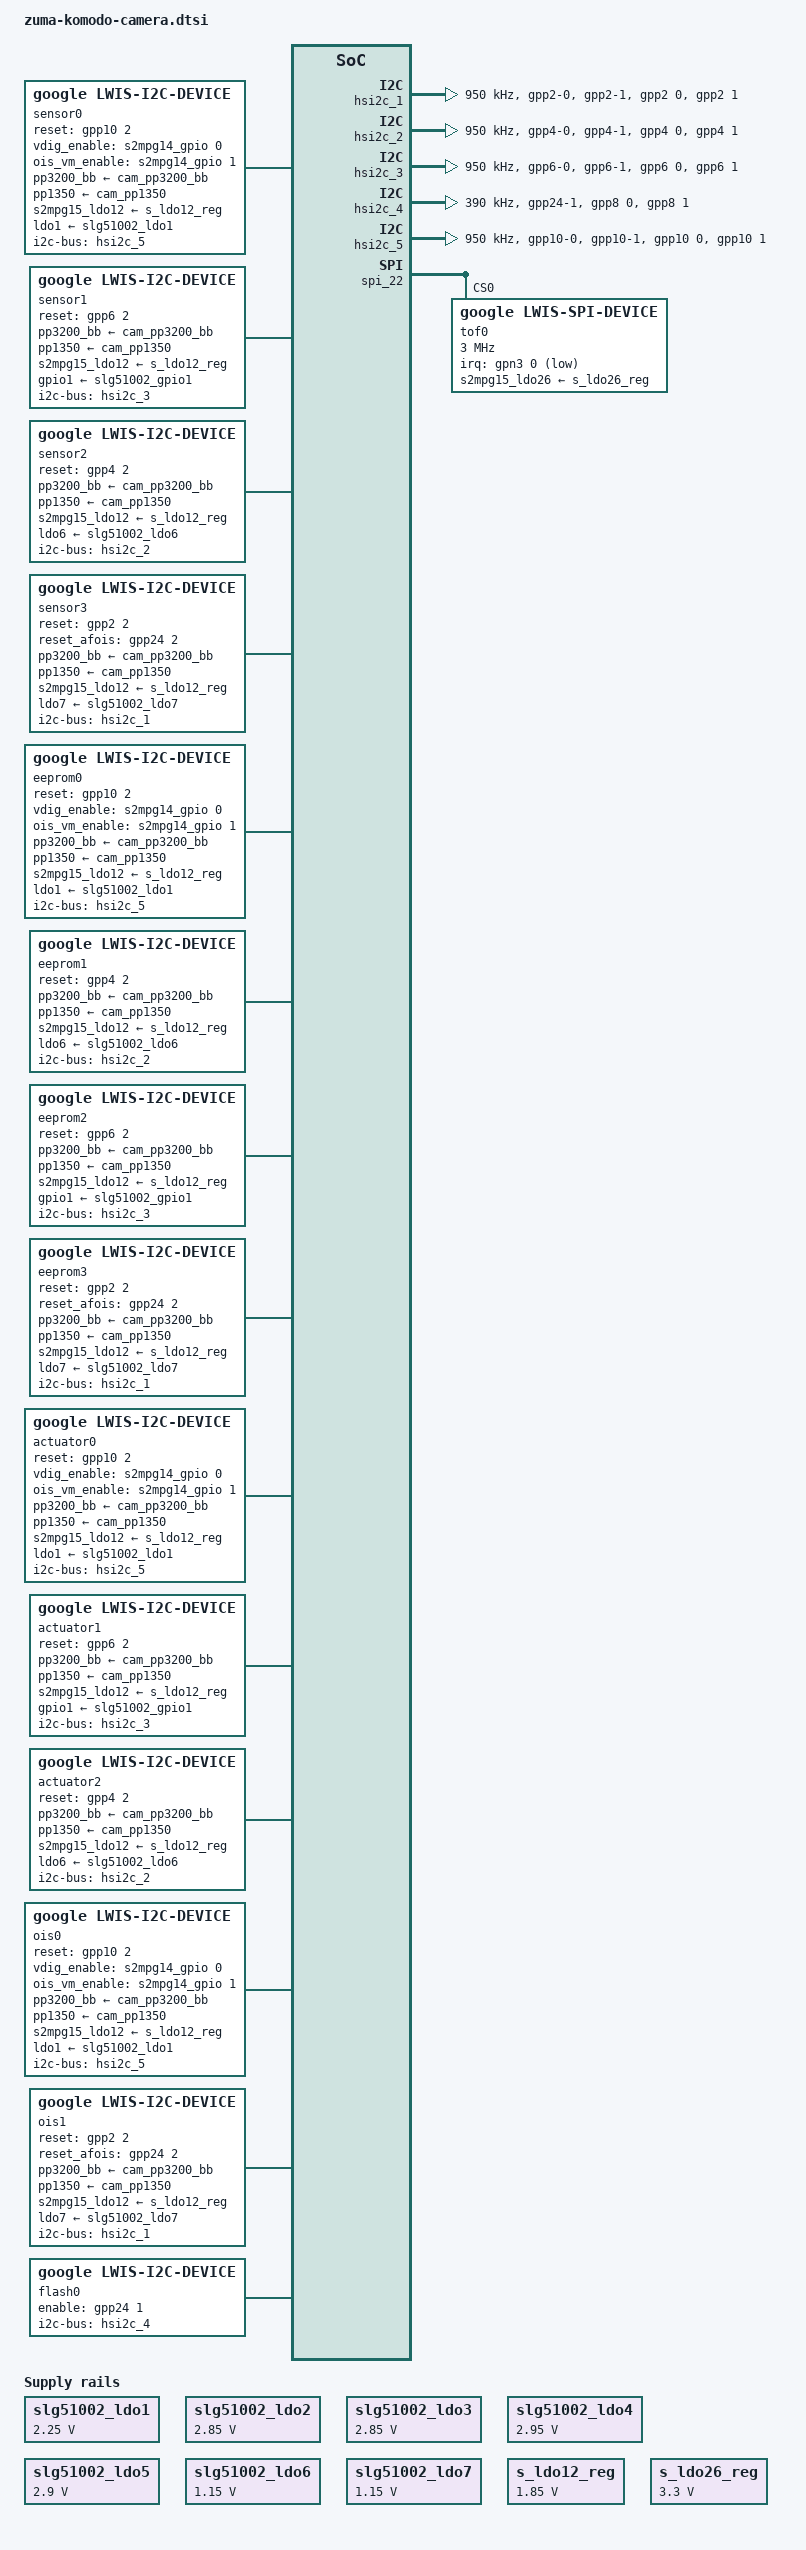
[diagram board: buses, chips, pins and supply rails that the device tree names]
// SPDX-License-Identifier: GPL-2.0-only
/*
 * zuma camera lwis device tree for komodo
 *
 * Copyright 2022 Google LLC.
 *
 */

#include <dt-bindings/clock/zuma.h>
#include <dt-bindings/gpio/gpio.h>
#include <arm64/exynos/exynos-pinctrl.h>
#include <dt-bindings/lwis/platform/zuma/tof.h>

&slg51002_ldo1 {
	regulator-min-microvolt = <2250000>;
	regulator-max-microvolt = <2250000>;
};

/* As defined on OTP */
&slg51002_ldo2 {
	regulator-min-microvolt = <2850000>;
	regulator-max-microvolt = <2850000>;
};

&slg51002_ldo3 {
	regulator-min-microvolt = <2850000>;
	regulator-max-microvolt = <2850000>;
};

&slg51002_ldo4 {
	regulator-min-microvolt = <2950000>;
	regulator-max-microvolt = <2950000>;
};

&slg51002_ldo5 {
	regulator-min-microvolt = <2900000>;
	regulator-max-microvolt = <2900000>;
};

/* As defined on OTP */
&slg51002_ldo6 {
	regulator-min-microvolt = <1150000>;
	regulator-max-microvolt = <1150000>;
};

/* As defined on OTP */
&slg51002_ldo7 {
	regulator-min-microvolt = <1150000>;
	regulator-max-microvolt = <1150000>;
};

/* slg51002_ldo8 is not used */

&s_ldo12_reg {
	regulator-min-microvolt = <1850000>;
	regulator-max-microvolt = <1850000>;
};

&s_ldo26_reg {
	regulator-min-microvolt = <3300000>;
	regulator-max-microvolt = <3300000>;
};

&pinctrl_1 {
	ldaf_irq: ldaf-irq {
		samsung,pins = "gpn3-0";
		samsung,pin-function = <EXYNOS_PIN_FUNC_EINT>;
		samsung,pin-pud = <EXYNOS_PIN_PULL_NONE>;
	};
	ldaf_irq_off: ldaf-irq-off {
		samsung,pins = "gpn3-0";
		samsung,pin-function = <EXYNOS_PIN_FUNC_OUTPUT>;
		samsung,pin-val = <0>;
		samsung,pin-pud = <EXYNOS_PIN_PULL_NONE>;
	};
};

&pinctrl_11 {
	hsi2c1_bus: hsi2c1-bus {
		samsung,pin-pud = <EXYNOS_PIN_PULL_UP>;
	};

	hsi2c1_bus_in: hsi2c1-bus-in {
		samsung,pins = "gpp2-0", "gpp2-1";
		samsung,pin-function = <EXYNOS_PIN_FUNC_INPUT>;
		samsung,pin-pud = <EXYNOS_PIN_PULL_NONE>;
		samsung,pin-drv = <ZUMA_PIN_DRV_X1>;
	};

	hsi2c2_bus: hsi2c2-bus {
		samsung,pin-pud = <EXYNOS_PIN_PULL_UP>;
	};

	hsi2c2_bus_in: hsi2c2-bus-in {
		samsung,pins = "gpp4-0", "gpp4-1";
		samsung,pin-function = <EXYNOS_PIN_FUNC_INPUT>;
		samsung,pin-pud = <EXYNOS_PIN_PULL_NONE>;
		samsung,pin-drv = <ZUMA_PIN_DRV_X1>;
	};

	hsi2c3_bus: hsi2c3-bus {
		samsung,pin-pud = <EXYNOS_PIN_PULL_UP>;
	};

	hsi2c3_bus_in: hsi2c3-bus-in {
		samsung,pins = "gpp6-0", "gpp6-1";
		samsung,pin-function = <EXYNOS_PIN_FUNC_INPUT>;
		samsung,pin-pud = <EXYNOS_PIN_PULL_NONE>;
		samsung,pin-drv = <ZUMA_PIN_DRV_X1>;
	};

	hsi2c5_bus: hsi2c5-bus {
		samsung,pin-pud = <EXYNOS_PIN_PULL_UP>;
	};

	hsi2c5_bus_in: hsi2c5-bus-in {
		samsung,pins = "gpp10-0", "gpp10-1";
		samsung,pin-function = <EXYNOS_PIN_FUNC_INPUT>;
		samsung,pin-pud = <EXYNOS_PIN_PULL_NONE>;
		samsung,pin-drv = <ZUMA_PIN_DRV_X1>;
	};

	sensor_mclk1_out: sensor-mclk1-out {
		samsung,pin-drv = <ZUMA_PIN_DRV_X3>;
	};
	sensor_mclk1_fn: sensor-mclk1-fn {
		samsung,pin-drv = <ZUMA_PIN_DRV_X3>;
	};
	sensor_mclk2_out: sensor-mclk2-out {
		samsung,pin-drv = <ZUMA_PIN_DRV_X3>;
	};
	sensor_mclk2_fn: sensor-mclk2-fn {
		samsung,pin-drv = <ZUMA_PIN_DRV_X3>;
	};
	sensor_mclk3_out: sensor-mclk3-out {
		samsung,pin-drv = <ZUMA_PIN_DRV_X3>;
	};
	sensor_mclk3_fn: sensor-mclk3-fn {
		samsung,pin-drv = <ZUMA_PIN_DRV_X3>;
	};
	sensor_mclk4_out: sensor-mclk4-out {
		samsung,pin-drv = <ZUMA_PIN_DRV_X3>;
	};
	sensor_mclk4_fn: sensor-mclk4-fn {
		samsung,pin-drv = <ZUMA_PIN_DRV_X3>;
	};
};

&pinctrl_12 {
	/* GPP24[1] Flashlight Enable */
	flash_en: flash-en {
		samsung,pins = "gpp24-1";
		samsung,pin-function = <EXYNOS_PIN_FUNC_INPUT>;
		samsung,pin-pud = <EXYNOS_PIN_PULL_NONE>;
		samsung,pin-con-pdn = <EXYNOS_PIN_PDN_PREV>;
		samsung,pin-pud-pdn = <EXYNOS_PIN_PULL_NONE>;
	};
};

&hsi2c_1 {
	#address-cells = <1>;
	#size-cells = <0>;
	gpios = <&gpp2 0 GPIO_ACTIVE_HIGH &gpp2 1 GPIO_ACTIVE_HIGH>;
	status = "okay";
	clock-frequency = <950000>;
	samsung,no_lose_arbitration;
	samsung,reset-before-trans;
	samsung,hybrid-polling-mode;

	pinctrl-names = "default","on_i2c","off_i2c";
	pinctrl-0 = <&hsi2c1_bus_in>;
	pinctrl-1 = <&hsi2c1_bus>;
	pinctrl-2 = <&hsi2c1_bus_in>;
};

&hsi2c_2 {
	#address-cells = <1>;
	#size-cells = <0>;
	gpios = <&gpp4 0 GPIO_ACTIVE_HIGH &gpp4 1 GPIO_ACTIVE_HIGH>;
	status = "okay";
	clock-frequency = <950000>;
	samsung,no_lose_arbitration;
	samsung,reset-before-trans;
	samsung,hybrid-polling-mode;

	pinctrl-names = "default","on_i2c","off_i2c";
	pinctrl-0 = <&hsi2c2_bus_in>;
	pinctrl-1 = <&hsi2c2_bus>;
	pinctrl-2 = <&hsi2c2_bus_in>;
};

&hsi2c_3 {
	#address-cells = <1>;
	#size-cells = <0>;
	gpios = <&gpp6 0 GPIO_ACTIVE_HIGH &gpp6 1 GPIO_ACTIVE_HIGH>;
	status = "okay";
	clock-frequency = <950000>;
	samsung,no_lose_arbitration;
	samsung,reset-before-trans;
	samsung,hybrid-polling-mode;

	pinctrl-names = "default","on_i2c","off_i2c";
	pinctrl-0 = <&hsi2c3_bus_in>;
	pinctrl-1 = <&hsi2c3_bus>;
	pinctrl-2 = <&hsi2c3_bus_in>;
};

&hsi2c_4 {
	#address-cells = <1>;
	#size-cells = <0>;
	gpios = <&gpp8 0 GPIO_ACTIVE_HIGH &gpp8 1 GPIO_ACTIVE_HIGH>;
	status = "okay";
	/* Limit to 390KHz due to bottleneck in flash LED driver. */
	clock-frequency = <390000>;
	samsung,no_lose_arbitration;

	pinctrl-names = "default","on_i2c","off_i2c";
	pinctrl-0 = <&hsi2c4_bus &flash_en>;
	pinctrl-1 = <&hsi2c4_bus>;
	pinctrl-2 = <&hsi2c4_bus>;
};

&hsi2c_5 {
	#address-cells = <1>;
	#size-cells = <0>;
	gpios = <&gpp10 0 GPIO_ACTIVE_HIGH &gpp10 1 GPIO_ACTIVE_HIGH>;
	status = "okay";
	clock-frequency = <950000>;
	samsung,no_lose_arbitration;
	samsung,reset-before-trans;
	samsung,hybrid-polling-mode;
	samsung,trailing-count = <0x20000>;

	pinctrl-names = "default","on_i2c","off_i2c";
	pinctrl-0 = <&hsi2c5_bus_in>;
	pinctrl-1 = <&hsi2c5_bus>;
	pinctrl-2 = <&hsi2c5_bus_in>;
};

&spi_22 {

	#address-cells = <1>;
	#size-cells = <0>;
	status = "okay";

	tof0: tof@0 {
		status = "ok";
		compatible = "google,lwis-spi-device";

		/* Device node name */
		node-name = "tof-tarasque";

		/* Registers */
		reg-addr-bitwidth = <16>;
		reg-value-bitwidth = <8>;

		/* SPI config */
		reg = <0>;
		spi-max-frequency = <3000000>;
		spi-cpol;
		spi-cpha;

		/* Power supplies */
		/* VADD 3.3V */
		s2mpg15_ldo26-supply = <&s_ldo26_reg>;

		/* MCLK Control*/
		pinctrl-names = "default", "mclk_on", "mclk_off";
		pinctrl-0 = <&ldaf_irq_off>;
		pinctrl-1 = <&ldaf_irq>;
		pinctrl-2 = <&ldaf_irq_off>;

		/* XAOC_GPIO3: GPN3[0] */
		irq-gpios = <&gpn3 0 GPIO_ACTIVE_LOW>;
		irq-gpios-names = "tof-irq";
		irq-gpios-events = <LWIS_PLATFORM_EVENT_ID_TOF_DATA_POLLING>;
		/* IRQF_ONESHOT | IRQF_TRIGGER_FALLING */
		irq-gpios-types = <0x2002>;

		/* Power up sequence */
		power-up-seqs =
			"s2mpg15_ldo26",
			"mclk_on";
		power-up-seq-types =
			"regulator",
			"pinctrl";
		power-up-seq-delays-us =
			<1000
			 0>;

		/* Power down sequence */
		power-down-seqs =
			"mclk_off",
			"s2mpg15_ldo26";
		power-down-seq-types =
			"pinctrl",
			"regulator";
		power-down-seq-delays-us =
			<0
			 1000>;

		/* Thread priority */
		/* A slower TOF bus speed leads to higher CPU usage. */
		/* This is therefore made to be lower than image sensor's */
		/* thread priority to allow uninterrupted image sensor */
		/* operation during periods of high CPU contention. */
		/* Other real-time threads are also prioritized over */
		/* TOF as well. */
		transaction-thread-priority = <100>;

		controller-data {
			samsung,spi-feedback-delay = <0>;
			samsung,spi-chip-select-mode = <0>;
			cs-clock-delay = <10>;
		};
	};
};

/ {
	fragment@lwiscamera {
		target-path = "/";
		__overlay__ {
			/* Power sequence for FRONT CAMERA combo */
			front_camera_power_seq: module_power_seq@0 {
				/* Power supplies will be defined on each module. */
				/* Common supplies */
				/* PP3200_BB_CAM pp3200_bb */
				/* PP1350_CAM    pp1350 */
				/* Sensor */
				/* VDDIO         s2mpg15_ldo12 */
				/* VDIG,VDDA     gpio1 */
				/* RESET         reset */
				/* MCLK_ON       mclk_on */
				/* Actuator */
				/* AF_VM         gpio2 */
				power-up-seqs =
					"pp3200_bb",
					"pp1350",
					"gpio1",
					"s2mpg15_ldo12",
					"gpio2",
					"reset",
					"mclk_on";
				power-up-seq-types =
					"regulator",
					"regulator",
					"regulator",
					"regulator",
					"regulator",
					"gpio",
					"pinctrl";
				power-up-seq-delays-us =
					<0
					 0
					 0
					 1000
					 0
					 0
					 /* from MCLK to first i2c */
					 5000>;

				power-down-seqs =
					"mclk_off",
					"reset",
					"gpio2",
					"s2mpg15_ldo12",
					"gpio1",
					"pp1350",
					"pp3200_bb";
				power-down-seq-types =
					"pinctrl",
					"gpio",
					"regulator",
					"regulator",
					"regulator",
					"regulator",
					"regulator";
				power-down-seq-delays-us =
					<0
					 1000
					 0
					 0
					 0
					 7000
					 2000>;
			};

			/* Power sequence for REAR MAIN CAMERA combo */
			rear_main_camera_power_seq: module_power_seq@1 {
				/* Power supplies will be defined on each module. */
				/* Common supplies */
				/* PP3200_BB_CAM pp3200_bb */
				/* PP1350_CAM    pp1350 */
				/* Sensor */
				/* VDDIO         s2mpg15_ldo12 */
				/* VDIG          vdig_enable */
				/* VDDA          ldo1 */
				/* RESET         reset */
				/* MCLK_ON       mclk_on */
				/* OIS */
				/* AVDD          ldo5 */
				/* OIS_VM        ois_vm_enable */
				/* Actuator */
				/* AF_VM         ldo4 */
				power-up-seqs =
					"pp3200_bb",
					"pp1350",
					"ldo1",
					"vdig_enable",
					"s2mpg15_ldo12",
					"ldo5",
					"ldo4",
					"reset",
					"ois_vm_enable",
					"mclk_on";
				power-up-seq-types =
					"regulator",
					"regulator",
					"regulator",
					"gpio",
					"regulator",
					"regulator",
					"regulator",
					"gpio",
					"gpio",
					"pinctrl";
				power-up-seq-delays-us =
					<0
					 0
					 1000
					 1000
					 1000
					 0
					 0
					 1000
					 0
					 9000>;

				power-down-seqs =
					"mclk_off",
					"ois_vm_enable",
					"reset",
					"ldo4",
					"ldo5",
					"s2mpg15_ldo12",
					"vdig_enable",
					"ldo1",
					"pp1350",
					"pp3200_bb";

				power-down-seq-types =
					"pinctrl",
					"gpio",
					"gpio",
					"regulator",
					"regulator",
					"regulator",
					"gpio",
					"regulator",
					"regulator",
					"regulator";
				power-down-seq-delays-us =
					<1000
					 0
					 1000
					 0
					 1000
					 1000
					 1000
					 1000
					 7000
					 2000>;
			};

			/* Power sequence for REAR ULTRA WIDE combo */
			rear_uw_camera_power_seq: module_power_seq@2 {
				/* Power supplies will be defined on each module. */
				/* Common supplies */
				/* PP3200_BB_CAM pp3200_bb */
				/* PP1350_CAM    pp1350 */
				/* Sensor */
				/* VDIG          ldo6 */
				/* VANA          ldo2 */
				/* VIO           s2mpg15_ldo12 */
				/* MCLK_ON       mclk_on */
				/* Actuator */
				/* AF_VM         ldo4 */
				power-up-seqs =
					"pp3200_bb",
					"pp1350",
					"ldo6",
					"ldo2",
					"s2mpg15_ldo12",
					"ldo4",
					"mclk_on";
				power-up-seq-types =
					"regulator",
					"regulator",
					"regulator",
					"regulator",
					"regulator",
					"regulator",
					"pinctrl";
				power-up-seq-delays-us =
					<0
					 0
					 0
					 0
					 1000
					 0
					 0>;

				power-down-seqs =
					"mclk_off",
					"ldo4",
					"s2mpg15_ldo12",
					"ldo2",
					"ldo6",
					"pp1350",
					"pp3200_bb";
				power-down-seq-types =
					"pinctrl",
					"regulator",
					"regulator",
					"regulator",
					"regulator",
					"regulator",
					"regulator";
				power-down-seq-delays-us =
					<0
					 1000
					 0
					 0
					 0
					 7000
					 2000>;
			};

			/* Power sequence for REAR Folded Tele Camera combo */
			rear_tele_camera_power_seq: module_power_seq@3 {
				/* Power supplies will be defined on each module. */
				/* Common supplies */
				/* PP3200_BB_CAM     pp3200_bb */
				/* PP1350_CAM        pp1350 */
				/* Sensor */
				/* VDIG              ldo7 */
				/* VDDA              ldo3 */
				/* VDDIO             s2mpg15_ldo12 */
				/* MCLK_ON           mclk_on */
				/* AFOIS */
				/* AF_VM             gpio3 */
				/* AFOIS_VANA        ldo5 */
				/* RTCAM_AFOIS_RESET reset[1] */
				power-up-seqs =
					"pp3200_bb",
					"pp1350",
					"ldo7",
					"ldo3",
					"s2mpg15_ldo12",
					"ldo5",
					"gpio3",
					"reset_afois",
					"mclk_on";
				power-up-seq-types =
					"regulator",
					"regulator",
					"regulator",
					"regulator",
					"regulator",
					"regulator",
					"regulator",
					"gpio",
					"pinctrl";
				power-up-seq-delays-us =
					<0
					 0
					 0
					 0
					 1000
					 1000
					 1000
					 1000
					 0>;

				/* Power down sequence */
				power-down-seqs =
					"mclk_off",
					"reset_afois",
					"gpio3",
					"ldo5",
					"s2mpg15_ldo12",
					"ldo3",
					"ldo7",
					"pp1350",
					"pp3200_bb";
				power-down-seq-types =
					"pinctrl",
					"gpio",
					"regulator",
					"regulator",
					"regulator",
					"regulator",
					"regulator",
					"regulator",
					"regulator";
				power-down-seq-delays-us =
					<0
					 1000
					 1000
					 1000
					 0
					 0
					 0
					 7000
					 2000>;
			};

			/* REAR CAMERA */
			sensor0: sensor@0 {
				compatible = "google,lwis-i2c-device";

				/* Device node name */
				node-name = "sensor-boitata";

				/* I2C */
				i2c-bus = <&hsi2c_5>;
				i2c-addr = <0x3D>;

				/* Registers */
				reg-addr-bitwidth = <16>;
				reg-value-bitwidth = <16>;

				/* GPIOs */
				/* RCAM_RST_L GPP10[2] */
				reset-gpios = <&gpp10 2 GPIO_ACTIVE_HIGH>;
				/* CAM_LVBUCK_EN, RCAM_OIS_VM_EN */
				vdig_enable-gpios = <&s2mpg14_gpio 0 GPIO_ACTIVE_HIGH>;
				ois_vm_enable-gpios = <&s2mpg14_gpio 1 GPIO_ACTIVE_HIGH>;

				/* Power supplies */
				pp3200_bb-supply = <&cam_pp3200_bb>;
				pp1350-supply = <&cam_pp1350>;
				s2mpg15_ldo12-supply = <&s_ldo12_reg>;
				ldo1-supply = <&slg51002_ldo1>;
				ldo5-supply = <&slg51002_ldo5>;
				ldo4-supply = <&slg51002_ldo4>;

				clocks =
					<&clock CIS_CLK3>,
					<&clock GATE_DFTMUX_CMU_CIS_CLK3>;
				clock-names =
					"CIS_CLK3",
					"GATE_DFTMUX_CMU_CIS_CLK3";
				clock-rates =
					<26000000>,
					<0>;

				/* MCLK Control */
				pinctrl-names = "mclk_on", "mclk_off";
				pinctrl-0 = <&sensor_mclk4_fn>;
				pinctrl-1 = <&sensor_mclk4_out>;

				/* Power sequence */
				power-seq = <&rear_main_camera_power_seq>;

				/* Thread priority */
				transaction-thread-priority = <99>;

				i2c-lock-group-id = <0>;
				transaction-process-limit = <20>;
			};

			/* FRONT CAMERA */
			sensor1: sensor@1 {
				compatible = "google,lwis-i2c-device";

				/* Device node name */
				node-name = "sensor-taotie-front";

				/* I2C */
				i2c-bus = <&hsi2c_3>;
				i2c-addr = <0x1A>;

				/* Registers */
				reg-addr-bitwidth = <16>;
				reg-value-bitwidth = <8>;

				/* GPIOs */
				/* FCAM_RST_L GPP6[2] */
				reset-gpios = <&gpp6 2 GPIO_ACTIVE_HIGH>;

				/* Power supplies */
				pp3200_bb-supply = <&cam_pp3200_bb>;
				pp1350-supply = <&cam_pp1350>;
				s2mpg15_ldo12-supply = <&s_ldo12_reg>;
				gpio1-supply = <&slg51002_gpio1>;
				gpio2-supply = <&slg51002_gpio2>;

				clocks =
					<&clock CIS_CLK1>,
					<&clock GATE_DFTMUX_CMU_CIS_CLK1>;
				clock-names =
					"CIS_CLK1",
					"GATE_DFTMUX_CMU_CIS_CLK1";
				clock-rates =
					<24000000>,
					<0>;

				/* MCLK Control */
				pinctrl-names = "mclk_on", "mclk_off";
				pinctrl-0 = <&sensor_mclk2_fn>;
				pinctrl-1 = <&sensor_mclk2_out>;

				/* Power sequence */
				power-seq = <&front_camera_power_seq>;

				/* Thread priority */
				transaction-thread-priority = <99>;

				i2c-lock-group-id = <3>;
			};

			/* REAR ULTRA WIDE CAMERA */
			sensor2: sensor@2 {
				compatible = "google,lwis-i2c-device";

				/* Device node name */
				node-name = "sensor-taotie-uw";

				/* I2C */
				i2c-bus = <&hsi2c_2>;
				i2c-addr = <0x1A>;

				/* Power up mode */
				lwis,power-up-to-suspend;

				/* Registers */
				reg-addr-bitwidth = <16>;
				reg-value-bitwidth = <8>;

				/* GPIOs */
				/* RUWCAM_RST_L GPP4[2] */
				reset-gpios = <&gpp4 2 GPIO_ACTIVE_HIGH>;

				/* Power supplies */
				pp3200_bb-supply = <&cam_pp3200_bb>;
				pp1350-supply = <&cam_pp1350>;
				s2mpg15_ldo12-supply = <&s_ldo12_reg>;
				ldo6-supply = <&slg51002_ldo6>;
				ldo4-supply = <&slg51002_ldo4>;
				ldo2-supply = <&slg51002_ldo2>;

				clocks =
					<&clock CIS_CLK0>,
					<&clock GATE_DFTMUX_CMU_CIS_CLK0>;
				clock-names =
					"CIS_CLK0",
					"GATE_DFTMUX_CMU_CIS_CLK0";
				clock-rates =
					<24000000>,
					<0>;

				/* MCLK Control */
				pinctrl-names = "mclk_on", "mclk_off";
				pinctrl-0 = <&sensor_mclk1_fn>;
				pinctrl-1 = <&sensor_mclk1_out>;

				/* Power sequence */
				power-seq = <&rear_uw_camera_power_seq>;

				/* resume sequence */
				resume-seqs = "reset";
				resume-seq-types = "gpio";
				/* from XCLR to first i2c */
				resume-seq-delays-us = <5000>;

				/* suspend sequence */
				suspend-seqs = "reset";
				suspend-seq-types = "gpio";
				suspend-seq-delays-us = <0>;

				/* Thread priority */
				transaction-thread-priority = <99>;

				i2c-lock-group-id = <2>;
			};

			/* REAR Folded Tele Camera */
			sensor3: sensor@3 {
				compatible = "google,lwis-i2c-device";

				/* Device node name */
				node-name = "sensor-taotie-tele";

				/* I2C */
				i2c-bus = <&hsi2c_1>;
				i2c-addr = <0x33>;

				/* Power up mode */
				lwis,power-up-to-suspend;

				/* Registers */
				reg-addr-bitwidth = <16>;
				reg-value-bitwidth = <8>;

				/* GPIOs */
				/* RTCAM_RST_L GPP2[2] */
				/* RTCAM_AF_OIS_RST GPP24[2] */
				reset-gpios = <&gpp2 2 GPIO_ACTIVE_HIGH>;
				reset_afois-gpios = <&gpp24 2 GPIO_ACTIVE_HIGH>;

				/* Power supplies */
				pp3200_bb-supply = <&cam_pp3200_bb>;
				pp1350-supply = <&cam_pp1350>;
				s2mpg15_ldo12-supply = <&s_ldo12_reg>;
				ldo7-supply = <&slg51002_ldo7>;
				ldo3-supply = <&slg51002_ldo3>;
				ldo5-supply = <&slg51002_ldo5>;
				gpio3-supply = <&slg51002_gpio3>;

				clocks =
					<&clock CIS_CLK2>,
					<&clock GATE_DFTMUX_CMU_CIS_CLK2>;
				clock-names =
					"CIS_CLK2",
					"GATE_DFTMUX_CMU_CIS_CLK2";
				clock-rates =
					<24000000>,
					<0>;

				/* MCLK Control */
				pinctrl-names = "mclk_on", "mclk_off";
				pinctrl-0 = <&sensor_mclk3_fn>;
				pinctrl-1 = <&sensor_mclk3_out>;

				/* Power sequence */
				power-seq = <&rear_tele_camera_power_seq>;

				/* resume sequence */
				resume-seqs = "reset";
				resume-seq-types = "gpio";
				/* from XCLR to first i2c */
				resume-seq-delays-us = <5000>;

				/* suspend sequence */
				suspend-seqs = "reset";
				suspend-seq-types = "gpio";
				suspend-seq-delays-us = <1000>;

				/* Thread priority */
				transaction-thread-priority = <99>;

				i2c-lock-group-id = <3>;
			};

			/* EEPROM for REAR CAMERA */
			eeprom0: eeprom@0 {
				compatible = "google,lwis-i2c-device";
				/* Device node name */
				node-name = "eeprom-djinn";
				/* I2C */
				i2c-bus = <&hsi2c_5>;
				i2c-addr = <0x24>;
				/* Registers */
				reg-addr-bitwidth = <16>;
				reg-value-bitwidth = <32>;

				/* GPIOs */
				/* RCAM_RST_L GPP10[2] */
				reset-gpios = <&gpp10 2 GPIO_ACTIVE_HIGH>;
				/* CAM_LVBUCK_EN, RCAM_OIS_VM_EN */
				vdig_enable-gpios = <&s2mpg14_gpio 0 GPIO_ACTIVE_HIGH>;
				ois_vm_enable-gpios = <&s2mpg14_gpio 1 GPIO_ACTIVE_HIGH>;

				/* Power supplies */
				pp3200_bb-supply = <&cam_pp3200_bb>;
				pp1350-supply = <&cam_pp1350>;
				s2mpg15_ldo12-supply = <&s_ldo12_reg>;
				ldo1-supply = <&slg51002_ldo1>;
				ldo5-supply = <&slg51002_ldo5>;
				ldo4-supply = <&slg51002_ldo4>;

				/* MCLK Control */
				pinctrl-names = "mclk_on", "mclk_off";
				pinctrl-0 = <&sensor_mclk4_fn>;
				pinctrl-1 = <&sensor_mclk4_out>;

				/* Power sequence */
				power-seq = <&rear_main_camera_power_seq>;

				i2c-lock-group-id = <0>;
			};

			/* EEPROM for REAR ULTRAWIDE CAMERA */
			eeprom1: eeprom@1 {
				compatible = "google,lwis-i2c-device";

				/* Device node name */
				node-name = "eeprom-smaug-taotie-uw";

				/* I2C */
				i2c-bus = <&hsi2c_2>;
				i2c-addr = <0x50>;

				/* Registers */
				reg-addr-bitwidth = <16>;
				reg-value-bitwidth = <8>;

				/* GPIOs */
				/* RUWCAM_RST_L GPP4[2] */
				reset-gpios = <&gpp4 2 GPIO_ACTIVE_HIGH>;

				/* Power supplies */
				pp3200_bb-supply = <&cam_pp3200_bb>;
				pp1350-supply = <&cam_pp1350>;
				s2mpg15_ldo12-supply = <&s_ldo12_reg>;
				ldo6-supply = <&slg51002_ldo6>;
				ldo4-supply = <&slg51002_ldo4>;
				ldo2-supply = <&slg51002_ldo2>;

				/* MCLK Control */
				pinctrl-names = "mclk_on", "mclk_off";
				pinctrl-0 = <&sensor_mclk1_fn>;
				pinctrl-1 = <&sensor_mclk1_out>;

				/* Power sequence */
				power-seq = <&rear_uw_camera_power_seq>;

				i2c-lock-group-id = <2>;
			};

			/* EEPROM for FRONT CAMERA */
			eeprom2: eeprom@2 {
				compatible = "google,lwis-i2c-device";

				/* Device node name */
				node-name = "eeprom-smaug-taotie-front";

				/* I2C */
				i2c-bus = <&hsi2c_3>;
				i2c-addr = <0x51>;

				/* Registers */
				reg-addr-bitwidth = <16>;
				reg-value-bitwidth = <8>;

				/* GPIOs */
				/* FCAM_RST_L GPP6[2] */
				reset-gpios = <&gpp6 2 GPIO_ACTIVE_HIGH>;

				/* Power supplies */
				pp3200_bb-supply = <&cam_pp3200_bb>;
				pp1350-supply = <&cam_pp1350>;
				s2mpg15_ldo12-supply = <&s_ldo12_reg>;
				gpio1-supply = <&slg51002_gpio1>;
				gpio2-supply = <&slg51002_gpio2>;

				/* MCLK Control */
				pinctrl-names = "mclk_on", "mclk_off";
				pinctrl-0 = <&sensor_mclk2_fn>;
				pinctrl-1 = <&sensor_mclk2_out>;

				/* Power sequence */
				power-seq = <&front_camera_power_seq>;
			};

			/* EEPROM for Rear Folded Tele Camera */
			eeprom3: eeprom@3 {
				compatible = "google,lwis-i2c-device";

				/* Device node name */
				node-name = "eeprom-humbaba";

				/* I2C */
				i2c-bus = <&hsi2c_1>;
				i2c-addr = <0x61>;

				/* Registers */
				reg-addr-bitwidth = <16>;
				reg-value-bitwidth = <8>;

				/* GPIOs */
				/* RTCAM_RST_L GPP2[2] */
				/* RTCAM_AF_OIS_RST GPP24[2] */
				reset-gpios = <&gpp2 2 GPIO_ACTIVE_HIGH>;
				reset_afois-gpios = <&gpp24 2 GPIO_ACTIVE_HIGH>;

				/* Power supplies */
				pp3200_bb-supply = <&cam_pp3200_bb>;
				pp1350-supply = <&cam_pp1350>;
				s2mpg15_ldo12-supply = <&s_ldo12_reg>;
				ldo7-supply = <&slg51002_ldo7>;
				ldo3-supply = <&slg51002_ldo3>;
				ldo5-supply = <&slg51002_ldo5>;
				gpio3-supply = <&slg51002_gpio3>;

				/* MCLK Control */
				pinctrl-names = "mclk_on", "mclk_off";
				pinctrl-0 = <&sensor_mclk3_fn>;
				pinctrl-1 = <&sensor_mclk3_out>;

				/* Power sequence */
				power-seq = <&rear_tele_camera_power_seq>;

				/* Thread priority */
				transaction-thread-priority = <99>;

				i2c-lock-group-id = <3>;
			};

			/* Actuator for REAR CAMERA */
			actuator0: actuator@0 {
				compatible = "google,lwis-i2c-device";

				/* Device node name */
				node-name = "act-cornerfolk";

				/* I2C */
				i2c-bus = <&hsi2c_5>;
				i2c-addr = <0xC>;

				/* Registers */
				reg-addr-bitwidth = <8>;
				reg-value-bitwidth = <8>;

				/* GPIOs */
				/* RCAM_RST_L GPP10[2] */
				reset-gpios = <&gpp10 2 GPIO_ACTIVE_HIGH>;
				/* CAM_LVBUCK_EN, RCAM_OIS_VM_EN */
				vdig_enable-gpios = <&s2mpg14_gpio 0 GPIO_ACTIVE_HIGH>;
				ois_vm_enable-gpios = <&s2mpg14_gpio 1 GPIO_ACTIVE_HIGH>;

				/* Power supplies */
				pp3200_bb-supply = <&cam_pp3200_bb>;
				pp1350-supply = <&cam_pp1350>;
				s2mpg15_ldo12-supply = <&s_ldo12_reg>;
				ldo1-supply = <&slg51002_ldo1>;
				ldo5-supply = <&slg51002_ldo5>;
				ldo4-supply = <&slg51002_ldo4>;

				/* MCLK Control */
				pinctrl-names = "mclk_on", "mclk_off";
				pinctrl-0 = <&sensor_mclk4_fn>;
				pinctrl-1 = <&sensor_mclk4_out>;

				/* Power sequence */
				power-seq = <&rear_main_camera_power_seq>;
				/* Thread priority */
				transaction-thread-priority = <99>;

				i2c-lock-group-id = <0>;
			};

			/* Actuator for FRONT CAMERA */
			actuator1: actuator@1 {
				compatible = "google,lwis-i2c-device";

				/* Device node name */
				node-name = "act-cornerfolk-taotie-front";

				/* I2C */
				i2c-bus = <&hsi2c_3>;
				i2c-addr = <0xC>;

				/* Registers */
				reg-addr-bitwidth = <8>;
				reg-value-bitwidth = <8>;

				/* GPIOs */
				/* FCAM_RST_L GPP6[2] */
				reset-gpios = <&gpp6 2 GPIO_ACTIVE_HIGH>;

				/* Power supplies */
				pp3200_bb-supply = <&cam_pp3200_bb>;
				pp1350-supply = <&cam_pp1350>;
				s2mpg15_ldo12-supply = <&s_ldo12_reg>;
				gpio1-supply = <&slg51002_gpio1>;
				gpio2-supply = <&slg51002_gpio2>;

				/* MCLK Control */
				pinctrl-names = "mclk_on", "mclk_off";
				pinctrl-0 = <&sensor_mclk2_fn>;
				pinctrl-1 = <&sensor_mclk2_out>;

				/* Power sequence */
				power-seq = <&front_camera_power_seq>;

				/* Thread priority */
				transaction-thread-priority = <99>;
			};

			/* Actuator for REAR ULTRAWIDE CAMERA */
			actuator2: actuator@2 {
				compatible = "google,lwis-i2c-device";

				/* Device node name */
				node-name = "act-cornerfolk-taotie-uw";

				/* I2C */
				i2c-bus = <&hsi2c_2>;
				i2c-addr = <0xF>;

				/* Registers */
				reg-addr-bitwidth = <8>;
				reg-value-bitwidth = <8>;

				/* GPIOs */
				/* RUWCAM_RST_L GPP4[2] */
				reset-gpios = <&gpp4 2 GPIO_ACTIVE_HIGH>;

				/* Power supplies */
				pp3200_bb-supply = <&cam_pp3200_bb>;
				pp1350-supply = <&cam_pp1350>;
				s2mpg15_ldo12-supply = <&s_ldo12_reg>;
				ldo6-supply = <&slg51002_ldo6>;
				ldo4-supply = <&slg51002_ldo4>;
				ldo2-supply = <&slg51002_ldo2>;

				/* MCLK Control */
				pinctrl-names = "mclk_on", "mclk_off";
				pinctrl-0 = <&sensor_mclk1_fn>;
				pinctrl-1 = <&sensor_mclk1_out>;

				/* Power sequence */
				power-seq = <&rear_uw_camera_power_seq>;

				/* Thread priority */
				transaction-thread-priority = <99>;

				i2c-lock-group-id = <2>;
			};

			/* OIS for REAR CAMERA */
			ois0: ois@0 {
				compatible = "google,lwis-i2c-device";

				/* Device node name */
				node-name = "ois-djinn";

				/* I2C */
				i2c-bus = <&hsi2c_5>;
				i2c-addr = <0x24>;

				/* Registers */
				reg-addr-bitwidth = <16>;
				reg-value-bitwidth = <32>;

				/* GPIOs */
				/* RCAM_RST_L GPP10[2] */
				reset-gpios = <&gpp10 2 GPIO_ACTIVE_HIGH>;
				/* CAM_LVBUCK_EN, RCAM_OIS_VM_EN */
				vdig_enable-gpios = <&s2mpg14_gpio 0 GPIO_ACTIVE_HIGH>;
				ois_vm_enable-gpios = <&s2mpg14_gpio 1 GPIO_ACTIVE_HIGH>;

				/* Power supplies */
				pp3200_bb-supply = <&cam_pp3200_bb>;
				pp1350-supply = <&cam_pp1350>;
				s2mpg15_ldo12-supply = <&s_ldo12_reg>;
				ldo1-supply = <&slg51002_ldo1>;
				ldo5-supply = <&slg51002_ldo5>;
				ldo4-supply = <&slg51002_ldo4>;

				/* MCLK Control */
				pinctrl-names = "mclk_on", "mclk_off";
				pinctrl-0 = <&sensor_mclk4_fn>;
				pinctrl-1 = <&sensor_mclk4_out>;

				/* Power sequence */
				power-seq = <&rear_main_camera_power_seq>;

				/* Thread priority */
				transaction-thread-priority = <99>;

				i2c-lock-group-id = <0>;
			};

			/* OIS for Rear Folded Tele Camera */
			ois1: ois@1  {
				compatible = "google,lwis-i2c-device";

				/* Device node name */
				node-name = "ois-humbaba";

				/* I2C */
				i2c-bus = <&hsi2c_1>;
				i2c-addr = <0x61>;

				/* Registers */
				reg-addr-bitwidth = <16>;
				reg-value-bitwidth = <8>;

				/* GPIOs */
				/* RTCAM_RST_L GPP2[2] */
				/* RTCAM_AF_OIS_RST GPP24[2] */
				reset-gpios = <&gpp2 2 GPIO_ACTIVE_HIGH>;
				reset_afois-gpios = <&gpp24 2 GPIO_ACTIVE_HIGH>;

				/* Power supplies */
				pp3200_bb-supply = <&cam_pp3200_bb>;
				pp1350-supply = <&cam_pp1350>;
				s2mpg15_ldo12-supply = <&s_ldo12_reg>;
				ldo7-supply = <&slg51002_ldo7>;
				ldo3-supply = <&slg51002_ldo3>;
				ldo5-supply = <&slg51002_ldo5>;
				gpio3-supply = <&slg51002_gpio3>;

				/* MCLK Control */
				pinctrl-names = "mclk_on", "mclk_off";
				pinctrl-0 = <&sensor_mclk3_fn>;
				pinctrl-1 = <&sensor_mclk3_out>;

				/* Power sequence */
				power-seq = <&rear_tele_camera_power_seq>;

				/* Thread priority */
				transaction-thread-priority = <99>;

				i2c-lock-group-id = <3>;
			};

			flash0: flash@0 {
				compatible = "google,lwis-i2c-device";

				/* Device node name */
				node-name = "flash-lm3644";

				/* I2C */
				i2c-bus = <&hsi2c_4>;
				i2c-addr = <0x63>;

				/* Registers */
				reg-addr-bitwidth = <8>;
				reg-value-bitwidth = <8>;

				/* Power Management hibernation (deep sleep) */
				/* 1 : enable, 0 : disable */
				pm-hibernation = <0>;

				/* GPIOs */
				/* FLASH_EN GPP24[1] */
				enable-gpios =
					<&gpp24 1 GPIO_ACTIVE_HIGH>;
			};
		};
	};
};
